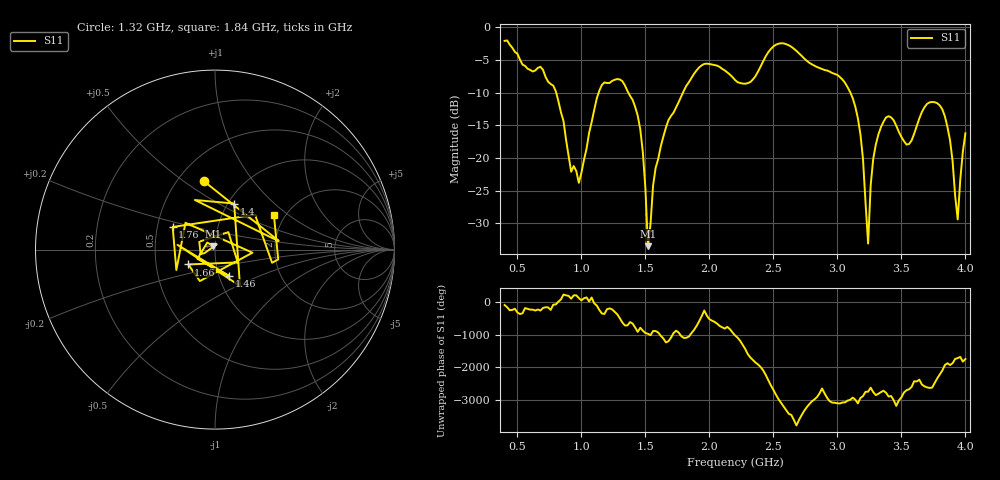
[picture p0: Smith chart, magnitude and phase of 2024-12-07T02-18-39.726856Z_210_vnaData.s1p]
!Created with skrf (http://scikit-rf.org).
# Hz S RI R 50.0
!freq ReS11 ImS11
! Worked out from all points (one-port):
!   181 points, 400 MHz to 4 GHz, reference 50 ohm
!   lowest |S11| = -33.5 dB at 1.52 GHz (marker M1), VSWR 1.04, Z = 49.1 + j1.9 ohm
!   |S11| at or under -10 dB: 802.6 MHz to 1.135 GHz (332.5 MHz wide, 34.3 % of centre); 1.366 GHz to 1.794 GHz (427.5 MHz wide, 27.1 % of centre); 3.101 GHz to end of sweep
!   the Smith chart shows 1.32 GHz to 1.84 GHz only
!   S11 on the Smith chart (normalised r, x): 1.32 GHz: 0.67, +0.60; 1.4 GHz: 1.07, +0.59; 1.46 GHz: 1.12, -0.33; 1.66 GHz: 0.73, -0.12; 1.76 GHz: 0.60, +0.16; 1.84 GHz: 1.76, +0.78
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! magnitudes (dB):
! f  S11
! 400 MHz  -2.1
! 700 MHz  -6.5
! 860 MHz  -14.3
! 920 MHz  -22.1
! 980 MHz  -23.8
! 1.14 GHz  -9.7
! 1.3 GHz  -8.0
! 1.32 GHz  -8.3
! 1.4 GHz  -11.1
! 1.46 GHz  -15.6
! 1.52 GHz  -33.5
! 1.58 GHz  -21.5
! 1.66 GHz  -15.4
! 1.76 GHz  -11.5
! 1.84 GHz  -8.4
! 2.2 GHz  -8.1
! 2.66 GHz  -3.3
! 3.1 GHz  -9.9
! 3.18 GHz  -16.4
! 3.24 GHz  -33.1
! 3.28 GHz  -20.1
! 3.34 GHz  -15.3
! 3.56 GHz  -17.9
! 3.7 GHz  -11.7
! 3.82 GHz  -12.6
! 3.88 GHz  -17.3
! 3.94 GHz  -29.4
! 4 GHz  -16.2
